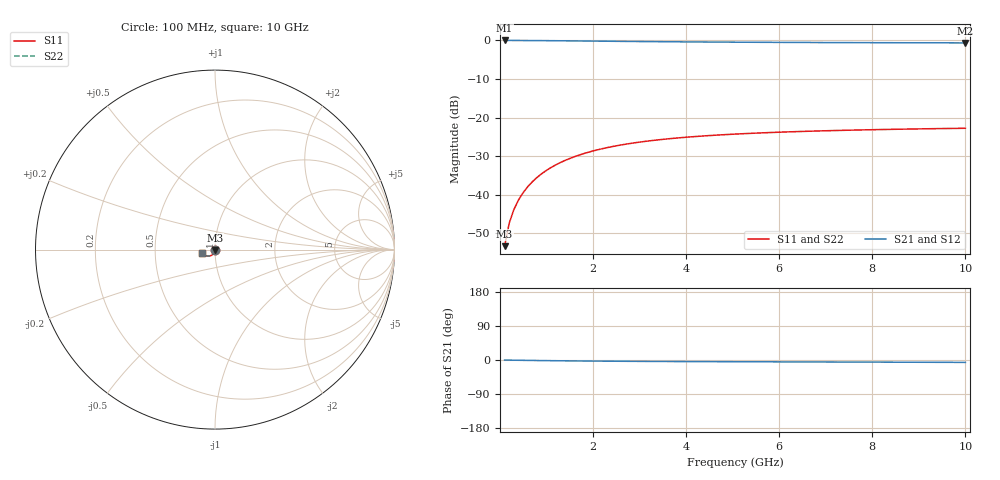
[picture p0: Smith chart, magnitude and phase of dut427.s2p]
! Touchstone file exported from HFSS 2024.1.0
!  File:  C:/UserFiles/LocalFiles/RDL_TSV_Batchsim/temp_TSV1_427_1779693973.aedt
!  Generated:  03:33:27 PM May 25, 2026
!  Design:  TSV1
!  Project:  temp_TSV1_427_1779693973
!  Setup:  Setup1
!  Solution:  Sweep
! Variables:
!  dtsv = 13.85um
!  hbump = 3um
!  htsv = 98.19um
!  lrdl = 252.1521522um
!  p = 40
!  p1 = 50.8um
!  t = 500um
!  trdl = 3um
!  wrdl = 24.89489489um
# GHz S MA R 50.000000
! Terminal data exported
! Port[1] = TSV22_T1
! Port[2] = TSV22_T2
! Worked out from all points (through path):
!   100 points, 100 MHz to 10 GHz, reference 50 ohm
!   highest |S21| = 0.00 dB at 100 MHz (marker M1); lowest = -0.6 dB at 10 GHz (marker M2)
!   lowest |S11| = -53.4 dB at 100 MHz (marker M3), VSWR 1.00, Z = 50 - j0.214 ohm
!   |S11| at or under -10 dB: start of sweep to end of sweep
!   |S22| runs from -53.4 to -22.8 dB; largest |S21 - S12| = 7e-15
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0.1  0.002139 -89.2  0.9998 -0.2  0.9998 -0.2  0.002139 -89.2
! Gamma 0 0 0 0
! Port Impedance 50 0 50 0
0.2  0.004276 -92.0  0.9996 -0.4  0.9996 -0.4  0.004276 -92.0
0.3  0.00641 -94.2  0.9993 -0.5  0.9993 -0.5  0.00641 -94.2
0.4  0.008531 -96.1  0.9988 -0.7  0.9988 -0.7  0.008531 -96.1
0.5  0.01063 -98.0  0.9982 -0.9  0.9982 -0.9  0.01063 -98.0
0.6  0.0127 -99.8  0.9975 -1.0  0.9975 -1.0  0.0127 -99.8
0.7  0.01474 -101.5  0.9968 -1.2  0.9968 -1.2  0.01474 -101.5
0.8  0.01674 -103.3  0.9959 -1.3  0.9959 -1.3  0.01674 -103.3
0.9  0.0187 -105.0  0.9949 -1.5  0.9949 -1.5  0.0187 -105.0
1.1  0.02247 -108.3  0.9928 -1.8  0.9928 -1.8  0.02247 -108.3
1.4  0.02774 -112.9  0.9892 -2.2  0.9892 -2.2  0.02774 -112.9
1.6  0.03098 -115.8  0.9866 -2.4  0.9866 -2.4  0.03098 -115.8
1.8  0.034 -118.5  0.9839 -2.6  0.9839 -2.6  0.034 -118.5
2.1  0.03812 -122.4  0.9798 -2.9  0.9798 -2.9  0.03812 -122.4
2.5  0.04292 -127.0  0.9746 -3.3  0.9746 -3.3  0.04292 -127.0
2.9  0.04701 -131.1  0.9696 -3.5  0.9696 -3.5  0.04701 -131.1
3.4  0.05128 -135.6  0.964 -3.8  0.964 -3.8  0.05128 -135.6
4.2  0.05664 -141.6  0.9563 -4.2  0.9563 -4.2  0.05664 -141.6
5.1  0.06111 -147.1  0.9495 -4.6  0.9495 -4.6  0.06111 -147.1
6.7  0.06651 -154.4  0.9407 -5.2  0.9407 -5.2  0.06651 -154.4
8.4  0.07018 -160.3  0.9344 -5.7  0.9344 -5.7  0.07017 -160.3
10  0.0725 -164.7  0.9303 -6.3  0.9303 -6.3  0.0725 -164.7
